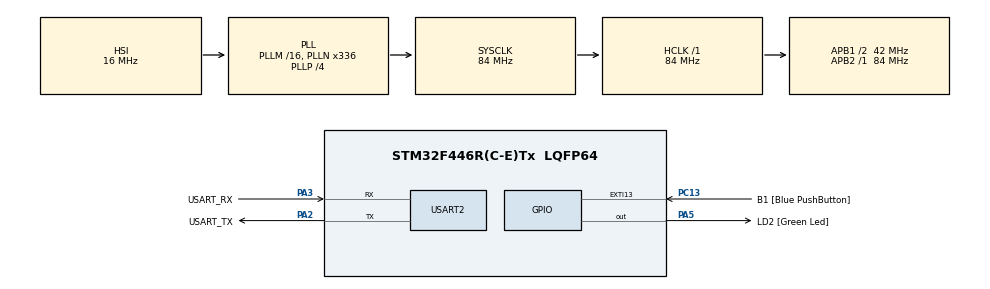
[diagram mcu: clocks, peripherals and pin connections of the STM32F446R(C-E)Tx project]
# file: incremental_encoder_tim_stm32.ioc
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Mcu.Family=STM32F4
Mcu.Name=STM32F446R(C-E)Tx
Mcu.Package=LQFP64
NVIC.PriorityGroup=NVIC_PRIORITYGROUP_0
PA13.GPIO_Label=TMS
PA13.Mode=Serial_Wire
PA13.Signal=SYS_JTMS-SWDIO
PA14.GPIO_Label=TCK
PA14.Mode=Serial_Wire
PA14.Signal=SYS_JTCK-SWCLK
PA2.GPIO_Label=USART_TX
PA2.Mode=Asynchronous
PA2.Signal=USART2_TX
PA3.GPIO_Label=USART_RX
PA3.Mode=Asynchronous
PA3.Signal=USART2_RX
PA5.GPIO_Label=LD2 [Green Led]
PA5.Signal=GPIO_Output
PB3.GPIO_Label=SWO
PB3.Signal=SYS_JTDO-SWO
PC13.GPIO_Label=B1 [Blue PushButton]
PC13.GPIO_ModeDefaultEXTI=GPIO_MODE_IT_FALLING
PC13.Signal=GPXTI13
PC14-OSC32_IN.Mode=LSE-External-Oscillator
PC14-OSC32_IN.Signal=RCC_OSC32_IN
PC15-OSC32_OUT.Mode=LSE-External-Oscillator
PC15-OSC32_OUT.Signal=RCC_OSC32_OUT
PH0-OSC_IN.Mode=HSE-External-Oscillator
PH0-OSC_IN.Signal=RCC_OSC_IN
PH1-OSC_OUT.Mode=HSE-External-Oscillator
PH1-OSC_OUT.Signal=RCC_OSC_OUT
ProjectManager.HeapSize=0x200
ProjectManager.StackSize=0x400
ProjectManager.TargetToolchain=STM32CubeIDE
RCC.48MHZClocksFreq_Value=84000000
RCC.AHBFreq_Value=84000000
RCC.APB1CLKDivider=RCC_HCLK_DIV2
RCC.APB1Freq_Value=42000000
RCC.APB1TimFreq_Value=84000000
RCC.APB2Freq_Value=84000000
RCC.APB2TimFreq_Value=84000000
RCC.CortexFreq_Value=84000000
RCC.FLatency-AdvancedSettings=FLASH_LATENCY_2
RCC.HCLKFreq_Value=84000000
RCC.HSE_VALUE=8000000
RCC.HSI_VALUE=16000000
RCC.PLLN=336
RCC.PLLP=RCC_PLLP_DIV4
RCC.SYSCLKFreq_VALUE=84000000
RCC.SYSCLKSource=RCC_SYSCLKSOURCE_PLLCLK
RCC.USBFreq_Value=168000000
RCC.VCOOutputFreq_Value=336000000
USART2.VirtualMode=VM_ASYNC
board=NUCLEO-F446RE

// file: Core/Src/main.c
/* USER CODE BEGIN Header */
/**
  ******************************************************************************
  * @file           : main.c
  * @brief          : Main program body
  ******************************************************************************
  * @attention
  *
  * Copyright (c) 2024 STMicroelectronics.
  * All rights reserved.
  *
  * This software is licensed under terms that can be found in the LICENSE file
  * in the root directory of this software component.
  * If no LICENSE file comes with this software, it is provided AS-IS.
  *
  ******************************************************************************
  */
/* USER CODE END Header */
#include "main.h"

UART_HandleTypeDef huart2;

void SystemClock_Config(void);
static void MX_GPIO_Init(void);
static void MX_USART2_UART_Init(void);

/* USER CODE BEGIN 0 */
void TIM1_encoder_setup() {
	/* GPIO SetUp (PA8 -> TIM1_CH1) */
	RCC->AHB1ENR |= (1 << RCC_AHB1ENR_GPIOAEN_Pos);		// Enable GPIO6
	GPIOA->MODER |= (2 << 16); 							// Alternate function mode
	GPIOA->AFR[1] |= (1 << 0); 							// Alternate function n1 for PA8 (TIM1 CH1)
	GPIOA->OSPEEDR 	|= (3 << 16);  						// High Speed for PIN PA6

	/* GPIO SetUp (PA9 -> TIM1_CH2) */
	GPIOA->MODER |= (2 << 18); 							// Alternate function mode
	GPIOA->AFR[1] |= (1 << 4); 							// Alternate function n1 for PA8 (TIM1 CH1)
	GPIOA->OSPEEDR 	|= (3 << 18);  						// High Speed for PIN PA6

	/* TIM1 SetUp */
	RCC->APB2ENR |= (1 << RCC_APB2ENR_TIM1EN_Pos); 		// Clock to TIM1

	/* CR1 Configuration */
	TIM1->CR1 &= ~(1 << TIM_CR1_UDIS_Pos); 		// Update event enabled
	TIM1->CR1 &= ~(1 << TIM_CR1_URS_Pos);		// Update event generated by any source
	TIM1->CR1 |= (1 << TIM_CR1_ARPE_Pos); 		// Auto reload preload enabled

	/* TIM1 CH1 to TI1 */
	TIM1->CCMR1 |= (0x01 << TIM_CCMR1_CC1S_Pos); 	// TIM1_CH1 configured as input TI1 mapped to CH1
	TIM1->CCER  &= ~(1 << TIM_CCER_CC1P_Pos); 		// I1FP1 non-inverted, TI1FP1 = TI1
	TIM1->CCER  &= ~(1 << TIM_CCER_CC1NP_Pos); 		// I1FP1 non-inverted, TI1FP1 = TI1
	TIM1->CCMR1  &= ~(0x0F << TIM_CCMR1_IC1F_Pos); 	// I1FP1 non-inverted, TI1FP1 = TI1

	/* TIM1 CH2 to TI2 */
	TIM1->CCMR1 |= (0x01 << TIM_CCMR1_CC2S_Pos); 	// TIM1_CH1 configured as input TI1 mapped to CH1
	TIM1->CCER  &= ~(1 << TIM_CCER_CC2P_Pos); 		// I1FP1 non-inverted, TI1FP1 = TI1
	TIM1->CCER  &= ~(1 << TIM_CCER_CC2NP_Pos); 		// I1FP1 non-inverted, TI1FP1 = TI1
	TIM1->CCMR1  &= ~(0x0F << TIM_CCMR1_IC2F_Pos); 	// I1FP1 non-inverted, TI1FP1 = TI1

	TIM1->ARR = 1000;

	// Both inputs are active on both rising and falling edges
	TIM1->SMCR |= (3 << TIM_SMCR_SMS_Pos);

	TIM1->EGR |= (1 << TIM_EGR_UG_Pos); 		// Fire an update event to update shadow registers
	TIM1->CR1 |= (1 << TIM_CR1_CEN_Pos);
}

int counter = 0;
/* USER CODE END 0 */

int main(void)
{

  /* MCU Configuration--------------------------------------------------------*/

  /* Reset of all peripherals, Initializes the Flash interface and the Systick. */
  HAL_Init();

  /* Configure the system clock */
  SystemClock_Config();

  /* Initialize all configured peripherals */
  MX_GPIO_Init();
  MX_USART2_UART_Init();

  /* Infinite loop */
  /* USER CODE BEGIN WHILE */
  TIM1_encoder_setup();
  while (1)
  {
    /* USER CODE END WHILE */

    /* USER CODE BEGIN 3 */
	  counter = TIM1->CNT;
	  HAL_Delay(100);
  }
  /* USER CODE END 3 */
}

void SystemClock_Config(void)
{
  RCC_OscInitTypeDef RCC_OscInitStruct = {0};
  RCC_ClkInitTypeDef RCC_ClkInitStruct = {0};

  /** Configure the main internal regulator output voltage
  */
  __HAL_RCC_PWR_CLK_ENABLE();
  __HAL_PWR_VOLTAGESCALING_CONFIG(PWR_REGULATOR_VOLTAGE_SCALE3);

  /** Initializes the RCC Oscillators according to the specified parameters
  * in the RCC_OscInitTypeDef structure.
  */
  RCC_OscInitStruct.OscillatorType = RCC_OSCILLATORTYPE_HSI;
  RCC_OscInitStruct.HSIState = RCC_HSI_ON;
  RCC_OscInitStruct.HSICalibrationValue = RCC_HSICALIBRATION_DEFAULT;
  RCC_OscInitStruct.PLL.PLLState = RCC_PLL_ON;
  RCC_OscInitStruct.PLL.PLLSource = RCC_PLLSOURCE_HSI;
  RCC_OscInitStruct.PLL.PLLM = 16;
  RCC_OscInitStruct.PLL.PLLN = 336;
  RCC_OscInitStruct.PLL.PLLP = RCC_PLLP_DIV4;
  RCC_OscInitStruct.PLL.PLLQ = 2;
  RCC_OscInitStruct.PLL.PLLR = 2;
  if (HAL_RCC_OscConfig(&RCC_OscInitStruct) != HAL_OK)
  {
    Error_Handler();
  }

  /** Initializes the CPU, AHB and APB buses clocks
  */
  RCC_ClkInitStruct.ClockType = RCC_CLOCKTYPE_HCLK|RCC_CLOCKTYPE_SYSCLK
                              |RCC_CLOCKTYPE_PCLK1|RCC_CLOCKTYPE_PCLK2;
  RCC_ClkInitStruct.SYSCLKSource = RCC_SYSCLKSOURCE_PLLCLK;
  RCC_ClkInitStruct.AHBCLKDivider = RCC_SYSCLK_DIV1;
  RCC_ClkInitStruct.APB1CLKDivider = RCC_HCLK_DIV2;
  RCC_ClkInitStruct.APB2CLKDivider = RCC_HCLK_DIV1;

  if (HAL_RCC_ClockConfig(&RCC_ClkInitStruct, FLASH_LATENCY_2) != HAL_OK)
  {
    Error_Handler();
  }
}

static void MX_USART2_UART_Init(void)
{

  huart2.Instance = USART2;
  huart2.Init.BaudRate = 115200;
  huart2.Init.WordLength = UART_WORDLENGTH_8B;
  huart2.Init.StopBits = UART_STOPBITS_1;
  huart2.Init.Parity = UART_PARITY_NONE;
  huart2.Init.Mode = UART_MODE_TX_RX;
  huart2.Init.HwFlowCtl = UART_HWCONTROL_NONE;
  huart2.Init.OverSampling = UART_OVERSAMPLING_16;
  if (HAL_UART_Init(&huart2) != HAL_OK)
  {
    Error_Handler();
  }

}

static void MX_GPIO_Init(void)
{
  GPIO_InitTypeDef GPIO_InitStruct = {0};

  /* GPIO Ports Clock Enable */
  __HAL_RCC_GPIOC_CLK_ENABLE();
  __HAL_RCC_GPIOH_CLK_ENABLE();
  __HAL_RCC_GPIOA_CLK_ENABLE();
  __HAL_RCC_GPIOB_CLK_ENABLE();

  /*Configure GPIO pin Output Level */
  HAL_GPIO_WritePin(LD2_GPIO_Port, LD2_Pin, GPIO_PIN_RESET);

  /*Configure GPIO pin : B1_Pin */
  GPIO_InitStruct.Pin = B1_Pin;
  GPIO_InitStruct.Mode = GPIO_MODE_IT_FALLING;
  GPIO_InitStruct.Pull = GPIO_NOPULL;
  HAL_GPIO_Init(B1_GPIO_Port, &GPIO_InitStruct);

  /*Configure GPIO pin : LD2_Pin */
  GPIO_InitStruct.Pin = LD2_Pin;
  GPIO_InitStruct.Mode = GPIO_MODE_OUTPUT_PP;
  GPIO_InitStruct.Pull = GPIO_NOPULL;
  GPIO_InitStruct.Speed = GPIO_SPEED_FREQ_LOW;
  HAL_GPIO_Init(LD2_GPIO_Port, &GPIO_InitStruct);

}

void Error_Handler(void)
{
  __disable_irq();
  while (1)
  {
  }
}
